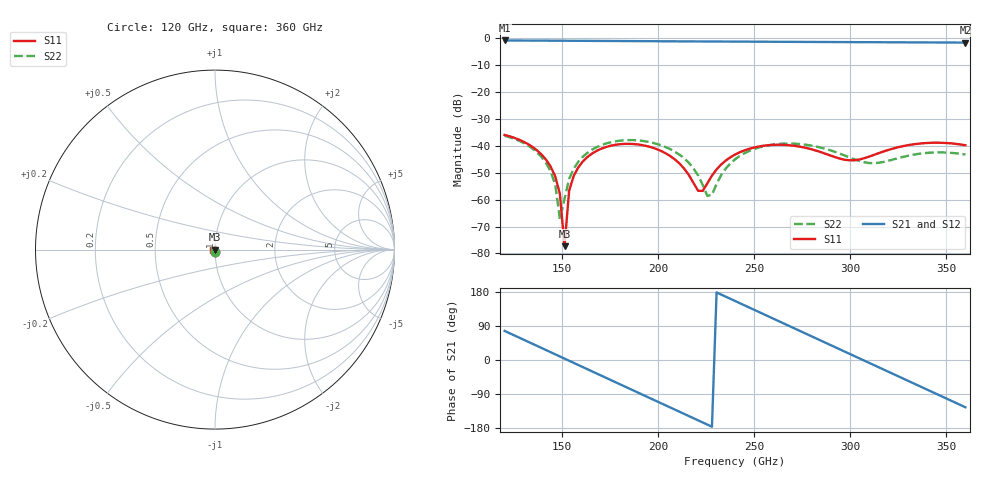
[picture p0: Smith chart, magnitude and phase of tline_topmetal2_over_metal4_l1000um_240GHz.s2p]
#  GHZ S DB R 50
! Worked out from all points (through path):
!   101 points, 120 GHz to 360 GHz, reference 50 ohm
!   highest |S21| = -0.87 dB at 120 GHz (marker M1); lowest = -1.7 dB at 360 GHz (marker M2)
!   group delay of S21, straight-line fit = 6.5 ps
!   lowest |S11| = -77.3 dB at 151.2 GHz (marker M3), VSWR 1.00, Z = 50 + j0.0107 ohm
!   |S11| at or under -10 dB: start of sweep to end of sweep
!   |S22| runs from -67.2 to -36.3 dB; largest |S21 - S12| = 1e-13
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120  -35.97 -88.0  -0.87 76.8  -0.87 76.8  -36.31 -87.7
134.4  -40.36 -122.3  -0.92 43.0  -0.92 43.0  -40.98 -121.6
144  -47.74 -146.4  -0.95 20.5  -0.95 20.5  -49.54 -143.7
146.4  -51.42 -152.9  -0.96 14.9  -0.96 14.9  -54.54 -148.1
148.8  -57.88 -160.7  -0.96 9.3  -0.96 9.3  -67.23 -141.8
151.2  -77.28 51.2  -0.97 3.7  -0.97 3.7  -59.80 9.6
153.6  -56.69 13.7  -0.98 -2.0  -0.98 -2.0  -52.32 7.4
160.8  -45.75 -6.8  -1.01 -18.9  -1.01 -18.9  -44.01 -9.1
182.4  -39.29 -63.9  -1.09 -69.5  -1.09 -69.5  -37.94 -64.4
201.6  -41.95 -117.4  -1.17 -114.4  -1.17 -114.4  -39.84 -115.8
211.2  -46.65 -149.4  -1.20 -136.8  -1.20 -136.8  -43.36 -143.4
220.8  -56.70 133.4  -1.23 -159.3  -1.23 -159.3  -51.02 178.7
225.6  -53.94 53.6  -1.25 -170.5  -1.25 -170.5  -58.60 122.3
228  -51.07 33.7  -1.25 -176.1  -1.25 -176.1  -58.21 63.9
232.8  -46.95 9.5  -1.27 172.7  -1.27 172.7  -50.87 12.2
240  -43.27 -16.1  -1.29 155.8  -1.29 155.8  -45.04 -18.0
261.6  -39.61 -83.2  -1.36 105.3  -1.36 105.3  -39.38 -84.7
280.8  -41.49 -150.8  -1.42 60.4  -1.42 60.4  -40.05 -147.1
302.4  -45.35 87.5  -1.49 9.9  -1.49 9.9  -45.05 117.5
321.6  -41.17 -15.8  -1.55 -35.0  -1.55 -35.0  -45.23 -4.4
340.8  -38.92 -86.7  -1.60 -79.9  -1.60 -79.9  -42.59 -91.6
360  -39.80 -152.7  -1.65 -124.8  -1.65 -124.8  -43.22 -171.2
